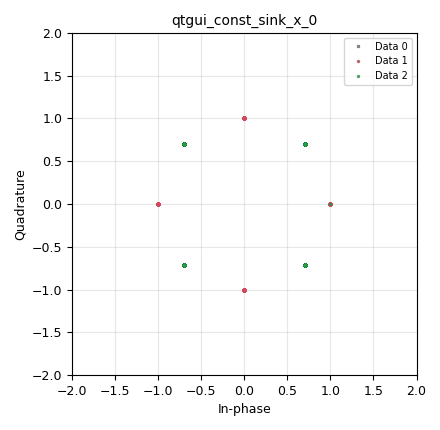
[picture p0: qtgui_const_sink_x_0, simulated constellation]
options:
  parameters:
    author: Lydia Ali Ahmed & Dalina Chabane
    generate_options: qt_gui
    id: OFDM_wav_TS_step_03_04_B
    output_language: python
    title: OFDM_wav_TS_step_03_04_B
  states: {}

blocks:
- name: my_const
  id: variable_constellation
  parameters:
    const_points: '[-1-1j, -1+1j, 1+1j, 1-1j]'
    dims: '1'
    normalization: digital.constellation.AMPLITUDE_NORMALIZATION
    precision: '8'
    rot_sym: '4'
    sym_map: '[0, 1, 3, 2]'
    type: calcdist
  states: {}
- name: samp_rate
  id: variable
  parameters:
    value: '2048000'
  states: {}
- name: analog_const_source_x_0
  id: analog_const_source_x
  parameters:
    comment: Symbole pilote
    const: '1'
    type: complex
  states: {}
- name: analog_random_source_x_0
  id: blocks_vector_source_x
  parameters:
    comment: Random source 1024 mots de 2 bits
    repeat: 'True'
    type: byte
    vector: list(map(int, __import__('numpy').random.randint(0, 4, 1024)))
  states: {}
- name: blocks_delay_0
  id: blocks_delay
  parameters:
    comment: Memoire differentielle
    delay: '1'
    type: complex
  states: {}
- name: blocks_multiply_const_vxx_0
  id: blocks_multiply_const_vxx
  parameters:
    comment: QPSK brut - Data 0 bleu
    const: '1'
    type: complex
  states: {}
- name: blocks_multiply_const_vxx_0_0
  id: blocks_multiply_const_vxx
  parameters:
    comment: pi/4-QPSK ref - Data 2 vert
    const: 0.707106+0.707106j
    type: complex
  states: {}
- name: blocks_multiply_xx_0
  id: blocks_multiply_xx
  parameters:
    comment: Encodage differentiel
    type: complex
  states: {}
- name: blocks_null_sink_0
  id: blocks_null_sink
  parameters:
    type: complex
  states: {}
- name: blocks_stream_demux_0
  id: blocks_stream_demux
  parameters:
    lengths: (1, 1024)
    type: complex
  states: {}
- name: blocks_stream_mux_0
  id: blocks_stream_mux
  parameters:
    lengths: (1, 1024)
    type: complex
  states: {}
- name: blocks_throttle2_0
  id: blocks_throttle2
  parameters:
    samples_per_second: samp_rate
    type: complex
  states: {}
- name: digital_constellation_encoder_bc_0
  id: digital_constellation_encoder_bc
  parameters:
    constellation: my_const
  states: {}
- name: qtgui_const_sink_x_0
  id: qtgui_const_sink_x
  parameters:
    label1: Data 0
    label2: Data 1
    label3: Data 2
    nconnections: '3'
    size: '1024'
    style1: '1'
    style2: '1'
    style3: '1'
    type: complex
  states: {}

connections:
- [analog_const_source_x_0, '0', blocks_stream_mux_0, '0']
- [analog_random_source_x_0, '0', digital_constellation_encoder_bc_0, '0']
- [blocks_delay_0, '0', blocks_multiply_xx_0, '1']
- [blocks_multiply_const_vxx_0, '0', blocks_stream_mux_0, '1']
- [blocks_multiply_const_vxx_0, '0', qtgui_const_sink_x_0, '0']
- [blocks_multiply_const_vxx_0_0, '0', qtgui_const_sink_x_0, '2']
- [blocks_multiply_xx_0, '0', blocks_stream_demux_0, '0']
- [blocks_stream_demux_0, '0', blocks_null_sink_0, '0']
- [blocks_stream_demux_0, '1', blocks_multiply_const_vxx_0_0, '0']
- [blocks_stream_demux_0, '1', qtgui_const_sink_x_0, '1']
- [blocks_stream_mux_0, '0', blocks_delay_0, '0']
- [blocks_stream_mux_0, '0', blocks_multiply_xx_0, '0']
- [blocks_throttle2_0, '0', blocks_multiply_const_vxx_0, '0']
- [digital_constellation_encoder_bc_0, '0', blocks_throttle2_0, '0']

metadata:
  file_format: 1
  grc_version: 3.10.9.2
